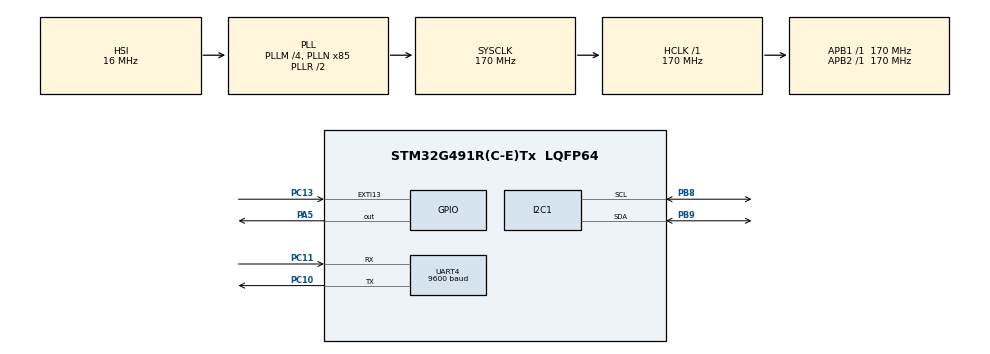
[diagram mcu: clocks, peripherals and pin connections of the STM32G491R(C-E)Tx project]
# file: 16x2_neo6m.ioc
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I2C1.Timing=0x40B285C2
Mcu.Family=STM32G4
Mcu.Name=STM32G491R(C-E)Tx
Mcu.Package=LQFP64
NUCLEO-G491RE.BUTTON=1
NUCLEO-G491RE.LD2=true
NUCLEO-G491RE.VCP=true
NVIC.EXTI15_10_IRQn=true\:0\:0\:false\:false\:true\:true\:true\:true
NVIC.PriorityGroup=NVIC_PRIORITYGROUP_4
PA13.GPIO_Label=T_SWDIO
PA13.Signal=SYS_JTMS-SWDIO
PA14.GPIO_Label=T_SWCLK
PA14.Signal=SYS_JTCK-SWCLK
PA2.Signal=LPUART1_TX
PA3.Signal=LPUART1_RX
PA5.Signal=GPIO_Output
PB3.GPIO_Label=T_SWO
PB3.Signal=SYS_JTDO-SWO
PB8-BOOT0.Mode=I2C
PB8-BOOT0.Signal=I2C1_SCL
PB9.Mode=I2C
PB9.Signal=I2C1_SDA
PC10.Mode=Asynchronous
PC10.Signal=UART4_TX
PC11.Mode=Asynchronous
PC11.Signal=UART4_RX
PC13.Signal=GPXTI13
PC14-OSC32_IN.GPIO_Label=RCC_OSC32_IN
PC14-OSC32_IN.Signal=RCC_OSC32_IN
PC15-OSC32_OUT.GPIO_Label=RCC_OSC32_OUT
PC15-OSC32_OUT.Signal=RCC_OSC32_OUT
PF0-OSC_IN.GPIO_Label=RCC_OSC_IN
PF0-OSC_IN.Signal=RCC_OSC_IN
PF1-OSC_OUT.GPIO_Label=RCC_OSC_OUT
PF1-OSC_OUT.Signal=RCC_OSC_OUT
ProjectManager.HeapSize=0x200
ProjectManager.StackSize=0x400
ProjectManager.TargetToolchain=STM32CubeIDE
RCC.ADC12Freq_Value=170000000
RCC.ADC345Freq_Value=170000000
RCC.AHBFreq_Value=170000000
RCC.APB1Freq_Value=170000000
RCC.APB1TimFreq_Value=170000000
RCC.APB2Freq_Value=170000000
RCC.APB2TimFreq_Value=170000000
RCC.CortexFreq_Value=170000000
RCC.EXTERNAL_CLOCK_VALUE=12288000
RCC.HCLKFreq_Value=170000000
RCC.HSE_VALUE=24000000
RCC.HSI48_VALUE=48000000
RCC.HSI_VALUE=16000000
RCC.LSE_VALUE=32768
RCC.PLLM=RCC_PLLM_DIV4
RCC.PLLN=85
RCC.RTCClockSelection=RCC_RTCCLKSOURCE_LSE
RCC.SYSCLKFreq_VALUE=170000000
RCC.SYSCLKSource=RCC_SYSCLKSOURCE_PLLCLK
RCC.USBFreq_Value=48000000
RCC.VCOOutputFreq_Value=340000000
UART4.BaudRate=9600
VP_NUCLEO-G491RE_VS_BSP_COMMON.Mode=COMMON
VP_SYS_VS_DBSignals.Mode=DisableDeadBatterySignals
board=NUCLEO-G491RE

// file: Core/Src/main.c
/* USER CODE BEGIN Header */
/**
  ******************************************************************************
  * @file           : main.c
  * @brief          : Standalone NEO-6M GPS to 16x2 I2C LCD Display (VCP CSV Logger)
  ******************************************************************************
  */
/* USER CODE END Header */
#include "main.h"

/* USER CODE BEGIN Includes */
#include <string.h>
#include <stdlib.h>
#include <stdio.h>
/* USER CODE END Includes */

COM_InitTypeDef BspCOMInit;
I2C_HandleTypeDef hi2c1;

UART_HandleTypeDef huart4;

/* USER CODE BEGIN PV */
/* Global variables marked 'volatile' so they update perfectly in Live Expressions */
volatile float latitude = 0.0f;
volatile float longitude = 0.0f;

/* Raw strings just in case you want to see the exact NMEA output */
char raw_lat[20] = "Waiting...";
char raw_lon[20] = "Waiting...";
/* USER CODE END PV */

void SystemClock_Config(void);
static void MX_GPIO_Init(void);
static void MX_UART4_Init(void);
static void MX_I2C1_Init(void);
/* USER CODE BEGIN PFP */
int fetch_and_parse_gps(void);
float nmea_to_decimal(const char *nmea, char dir);
void float_to_string(float val, char* buf);
/* USER CODE END PFP */

int main(void)
{

  /* MCU Configuration--------------------------------------------------------*/

  /* Reset of all peripherals, Initializes the Flash interface and the Systick. */
  HAL_Init();

  /* Configure the system clock */
  SystemClock_Config();

  /* Initialize all configured peripherals */
  MX_GPIO_Init();
  MX_UART4_Init();
  MX_I2C1_Init();

  /* Initialize led */
  BSP_LED_Init(LED_GREEN);

  /* Initialize USER push-button, will be used to trigger an interrupt each time it's pressed.*/
  BSP_PB_Init(BUTTON_USER, BUTTON_MODE_EXTI);

  /* Initialize COM1 port (115200, 8 bits (7-bit data + 1 stop bit), no parity */
  BspCOMInit.BaudRate   = 115200;
  BspCOMInit.WordLength = COM_WORDLENGTH_8B;
  BspCOMInit.StopBits   = COM_STOPBITS_1;
  BspCOMInit.Parity     = COM_PARITY_NONE;
  BspCOMInit.HwFlowCtl  = COM_HWCONTROL_NONE;
  if (BSP_COM_Init(COM1, &BspCOMInit) != BSP_ERROR_NONE)
  {
    Error_Handler();
  }

  /* Print standard CSV Header required by GPS Visualizer out of the serial interface */
  printf("latitude,longitude\r\n");

  /* Infinite loop */
  /* USER CODE BEGIN WHILE */
  while (1)
  {
    /* Fetch the GPS data and look for a valid return token (1 = Success) */
    if (fetch_and_parse_gps() == 1)
    {
        /* Buffers to hold our integer-converted string values */
        char lat_str[20];
        char lon_str[20];

        /* Convert float to string using standard integer math (Bypasses CubeIDE %f warning) */
        float_to_string((float)latitude, lat_str);
        float_to_string((float)longitude, lon_str);

        /* Transmit data automatically across the serial logging stream using string formatting */
        printf("%s,%s\r\n", lat_str, lon_str);

        /* Toggle LED ONLY when valid data is received to indicate active live parsing */
        BSP_LED_Toggle(LED_GREEN);
    }

    /* USER CODE END WHILE */

  }
}

void SystemClock_Config(void)
{
  RCC_OscInitTypeDef RCC_OscInitStruct = {0};
  RCC_ClkInitTypeDef RCC_ClkInitStruct = {0};

  /** Configure the main internal regulator output voltage
  */
  HAL_PWREx_ControlVoltageScaling(PWR_REGULATOR_VOLTAGE_SCALE1_BOOST);

  /** Initializes the RCC Oscillators according to the specified parameters
  * in the RCC_OscInitTypeDef structure.
  */
  RCC_OscInitStruct.OscillatorType = RCC_OSCILLATORTYPE_HSI;
  RCC_OscInitStruct.HSIState = RCC_HSI_ON;
  RCC_OscInitStruct.HSICalibrationValue = RCC_HSICALIBRATION_DEFAULT;
  RCC_OscInitStruct.PLL.PLLState = RCC_PLL_ON;
  RCC_OscInitStruct.PLL.PLLSource = RCC_PLLSOURCE_HSI;
  RCC_OscInitStruct.PLL.PLLM = RCC_PLLM_DIV4;
  RCC_OscInitStruct.PLL.PLLN = 85;
  RCC_OscInitStruct.PLL.PLLP = RCC_PLLP_DIV2;
  RCC_OscInitStruct.PLL.PLLQ = RCC_PLLQ_DIV2;
  RCC_OscInitStruct.PLL.PLLR = RCC_PLLR_DIV2;
  if (HAL_RCC_OscConfig(&RCC_OscInitStruct) != HAL_OK)
  {
    Error_Handler();
  }

  /** Initializes the CPU, AHB and APB buses clocks
  */
  RCC_ClkInitStruct.ClockType = RCC_CLOCKTYPE_HCLK|RCC_CLOCKTYPE_SYSCLK
                              |RCC_CLOCKTYPE_PCLK1|RCC_CLOCKTYPE_PCLK2;
  RCC_ClkInitStruct.SYSCLKSource = RCC_SYSCLKSOURCE_PLLCLK;
  RCC_ClkInitStruct.AHBCLKDivider = RCC_SYSCLK_DIV1;
  RCC_ClkInitStruct.APB1CLKDivider = RCC_HCLK_DIV1;
  RCC_ClkInitStruct.APB2CLKDivider = RCC_HCLK_DIV1;

  if (HAL_RCC_ClockConfig(&RCC_ClkInitStruct, FLASH_LATENCY_4) != HAL_OK)
  {
    Error_Handler();
  }
}

static void MX_I2C1_Init(void)
{
  hi2c1.Instance = I2C1;
  hi2c1.Init.Timing = 0x40B285C2;
  hi2c1.Init.OwnAddress1 = 0;
  hi2c1.Init.AddressingMode = I2C_ADDRESSINGMODE_7BIT;
  hi2c1.Init.DualAddressMode = I2C_DUALADDRESS_DISABLE;
  hi2c1.Init.OwnAddress2 = 0;
  hi2c1.Init.OwnAddress2Masks = I2C_OA2_NOMASK;
  hi2c1.Init.GeneralCallMode = I2C_GENERALCALL_DISABLE;
  hi2c1.Init.NoStretchMode = I2C_NOSTRETCH_DISABLE;
  if (HAL_I2C_Init(&hi2c1) != HAL_OK)
  {
    Error_Handler();
  }

  /** Configure Analogue filter
  */
  if (HAL_I2CEx_ConfigAnalogFilter(&hi2c1, I2C_ANALOGFILTER_ENABLE) != HAL_OK)
  {
    Error_Handler();
  }

  /** Configure Digital filter
  */
  if (HAL_I2CEx_ConfigDigitalFilter(&hi2c1, 0) != HAL_OK)
  {
    Error_Handler();
  }
}

static void MX_UART4_Init(void)
{
  huart4.Instance = UART4;
  huart4.Init.BaudRate = 9600;
  huart4.Init.WordLength = UART_WORDLENGTH_8B;
  huart4.Init.StopBits = UART_STOPBITS_1;
  huart4.Init.Parity = UART_PARITY_NONE;
  huart4.Init.Mode = UART_MODE_TX_RX;
  huart4.Init.HwFlowCtl = UART_HWCONTROL_NONE;
  huart4.Init.OverSampling = UART_OVERSAMPLING_16;
  huart4.Init.OneBitSampling = UART_ONE_BIT_SAMPLE_DISABLE;
  huart4.Init.ClockPrescaler = UART_PRESCALER_DIV1;
  huart4.AdvancedInit.AdvFeatureInit = UART_ADVFEATURE_NO_INIT;
  if (HAL_UART_Init(&huart4) != HAL_OK)
  {
    Error_Handler();
  }
  if (HAL_UARTEx_SetTxFifoThreshold(&huart4, UART_TXFIFO_THRESHOLD_1_8) != HAL_OK)
  {
    Error_Handler();
  }
  if (HAL_UARTEx_SetRxFifoThreshold(&huart4, UART_RXFIFO_THRESHOLD_1_8) != HAL_OK)
  {
    Error_Handler();
  }
  if (HAL_UARTEx_DisableFifoMode(&huart4) != HAL_OK)
  {
    Error_Handler();
  }
}

static void MX_GPIO_Init(void)
{
  /* GPIO Ports Clock Enable */
  __HAL_RCC_GPIOC_CLK_ENABLE();
  __HAL_RCC_GPIOF_CLK_ENABLE();
  __HAL_RCC_GPIOA_CLK_ENABLE();
  __HAL_RCC_GPIOB_CLK_ENABLE();
}

/* USER CODE BEGIN 4 */

/**
  * @brief Redirects standard standard printf outputs to the STM32 VCP (Virtual COM Port)
  */
int _write(int file, char *ptr, int len)
{
    extern UART_HandleTypeDef hcom_uart[];
    HAL_UART_Transmit(&hcom_uart[COM1], (uint8_t*)ptr, len, HAL_MAX_DELAY);
    return len;
}

/**
  * @brief Helper function to format float to string manually (bypasses _printf_float requirement)
  */
void float_to_string(float val, char* buf) {
    int int_part = (int)val;
    float remainder = val - (float)int_part;

    if (remainder < 0.0f) {
        remainder = -remainder;
    }

    /* Calculate 6 decimal places */
    int frac_part = (int)(remainder * 1000000.0f);

    /* Handle edge case where value is negative but integer part is zero (e.g. -0.12345) */
    if (val < 0.0f && int_part == 0) {
        sprintf(buf, "-0.%06d", frac_part);
    } else {
        sprintf(buf, "%d.%06d", int_part, frac_part);
    }
}

/**
  * @brief Converts raw NMEA coordinates (DDMM.MMMMM) into Decimal Degrees (DD.DDDDD)
  */
float nmea_to_decimal(const char *nmea, char dir) {
    if (strlen(nmea) < 4) return 0.0f;

    char deg_str[4] = {0};
    /* Longitude uses 3 digits for degrees (DDD), Latitude uses 2 (DD) */
    int deg_len = (dir == 'E' || dir == 'W') ? 3 : 2;

    strncpy(deg_str, nmea, deg_len);
    const char *min_str = nmea + deg_len;

    float degrees = atof(deg_str);
    float minutes = atof(min_str);

    /* Convert formula: DD + (MM.MMMM / 60) */
    float decimal = degrees + (minutes / 60.0f);

    /* Southern and Western hemispheres are negative coordinates */
    if (dir == 'S' || dir == 'W') {
        decimal = -decimal;
    }

    return decimal;
}

/**
  * @brief Polls UART4 for the NEO-6M $GPGGA string and parses out the coordinates.
  * @retval int 1 if valid new coordinates parsed successfully, 0 if timeout/no fix.
  */
int fetch_and_parse_gps(void) {
    char rx_buf[256] = {0};
    uint16_t rx_idx = 0;
    uint8_t rx_byte;
    uint32_t start_tick = HAL_GetTick();

    /* Auto-Recovery Check: Clear UART Errors */
    if (__HAL_UART_GET_FLAG(&huart4, UART_FLAG_ORE) ||
        __HAL_UART_GET_FLAG(&huart4, UART_FLAG_NE)  ||
        __HAL_UART_GET_FLAG(&huart4, UART_FLAG_FE)) {
        __HAL_UART_CLEAR_FLAG(&huart4, UART_CLEAR_OREF);
        __HAL_UART_CLEAR_FLAG(&huart4, UART_CLEAR_NEF);
        __HAL_UART_CLEAR_FLAG(&huart4, UART_CLEAR_FEF);
        __HAL_UART_FLUSH_DRREGISTER(&huart4);
    }

    /* Listen for up to 1.5 seconds to ensure we catch a full 1Hz GPS broadcast */
    while ((HAL_GetTick() - start_tick) < 1500) {

        /* Continuous check inside loop to clear overruns */
        if (__HAL_UART_GET_FLAG(&huart4, UART_FLAG_ORE)) {
            __HAL_UART_CLEAR_FLAG(&huart4, UART_CLEAR_OREF);
        }

        if (HAL_UART_Receive(&huart4, &rx_byte, 1, 10) == HAL_OK) {
            if (rx_idx < 255) {
                rx_buf[rx_idx++] = rx_byte;
                rx_buf[rx_idx] = '\0';
            }

            /* Once a full NMEA sentence is captured */
            if (rx_byte == '\n') {
                char *gga = strstr(rx_buf, "$GPGGA,");
                if (gga != NULL) {
                    char *time_end = strchr(gga + 7, ',');
                    if (time_end) {
                        char *lat_start = time_end + 1;
                        char *lat_end = strchr(lat_start, ',');

                        /* Verify GPS has a fix (data exists between commas) */
                        if (lat_end && (lat_end - lat_start > 1)) {
                            char *ns_start = lat_end + 1;
                            char *ns_end = strchr(ns_start, ',');

                            /* Safe pointer checks */
                            if (ns_end) {
                                char *lon_start = ns_end + 1;
                                char *lon_end = strchr(lon_start, ',');

                                if (lon_end && (lon_end - lon_start > 1)) {
                                    char *ew_start = lon_end + 1;

                                    /* Extract raw NMEA strings */
                                    strncpy(raw_lat, lat_start, lat_end - lat_start);
                                    raw_lat[lat_end - lat_start] = '\0';

                                    strncpy(raw_lon, lon_start, lon_end - lon_start);
                                    raw_lon[lon_end - lon_start] = '\0';

                                    /* Update global volatile variables */
                                    latitude = nmea_to_decimal(raw_lat, ns_start[0]);
                                    longitude = nmea_to_decimal(raw_lon, ew_start[0]);

                                    return 1; /* Success! Return 1 */
                                }
                            }
                        }
                    }
                }
                /* Reset buffer to catch the next line if this one wasn't valid */
                rx_idx = 0;
                rx_buf[0] = '\0';
            }
        }
    }
    return 0; /* Timeout or no fix */
}
/* USER CODE END 4 */

void Error_Handler(void)
{
  __disable_irq();
  while (1)
  {
  }
}
